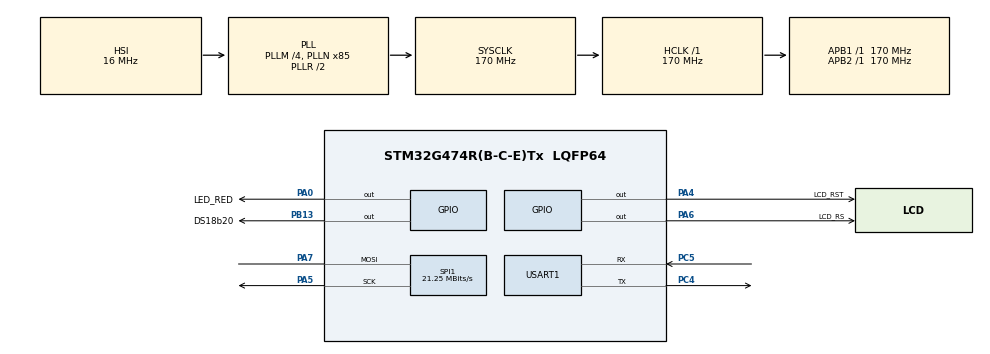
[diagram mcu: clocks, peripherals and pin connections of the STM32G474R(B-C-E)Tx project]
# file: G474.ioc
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Mcu.Family=STM32G4
Mcu.Name=STM32G474R(B-C-E)Tx
Mcu.Package=LQFP64
NVIC.PriorityGroup=NVIC_PRIORITYGROUP_4
PA0.GPIO_Label=LED_RED
PA0.GPIO_PuPd=GPIO_NOPULL
PA0.PinState=GPIO_PIN_RESET
PA0.Signal=GPIO_Output
PA13.Mode=Serial_Wire
PA13.Signal=SYS_JTMS-SWDIO
PA14.Mode=Serial_Wire
PA14.Signal=SYS_JTCK-SWCLK
PA4.GPIO_Label=LCD_RST
PA4.PinState=GPIO_PIN_SET
PA4.Signal=GPIO_Output
PA5.Mode=Simplex_Bidirectional_Master
PA5.Signal=SPI1_SCK
PA6.GPIO_Label=LCD_RS
PA6.GPIO_Speed=GPIO_SPEED_FREQ_VERY_HIGH
PA6.Signal=GPIO_Output
PA7.Mode=Simplex_Bidirectional_Master
PA7.Signal=SPI1_MOSI
PB13.GPIO_Label=DS18b20
PB13.GPIO_PuPd=GPIO_PULLUP
PB13.Signal=GPIO_Output
PC14-OSC32_IN.Mode=LSE-External-Oscillator
PC14-OSC32_IN.Signal=RCC_OSC32_IN
PC15-OSC32_OUT.Mode=LSE-External-Oscillator
PC15-OSC32_OUT.Signal=RCC_OSC32_OUT
PC4.Mode=Asynchronous
PC4.Signal=USART1_TX
PC5.Mode=Asynchronous
PC5.Signal=USART1_RX
PF0-OSC_IN.Mode=HSE-External-Oscillator
PF0-OSC_IN.Signal=RCC_OSC_IN
PF1-OSC_OUT.Mode=HSE-External-Oscillator
PF1-OSC_OUT.Signal=RCC_OSC_OUT
ProjectManager.HeapSize=0x200
ProjectManager.StackSize=0x400
ProjectManager.TargetToolchain=STM32CubeIDE
RCC.ADC12Freq_Value=170000000
RCC.ADC345Freq_Value=170000000
RCC.AHBFreq_Value=170000000
RCC.APB1Freq_Value=170000000
RCC.APB1TimFreq_Value=170000000
RCC.APB2Freq_Value=170000000
RCC.APB2TimFreq_Value=170000000
RCC.CortexFreq_Value=170000000
RCC.EXTERNAL_CLOCK_VALUE=12288000
RCC.HCLKFreq_Value=170000000
RCC.HSE_VALUE=8000000
RCC.HSI48_VALUE=48000000
RCC.HSI_VALUE=16000000
RCC.PLLM=RCC_PLLM_DIV4
RCC.PLLN=85
RCC.SYSCLKFreq_VALUE=170000000
RCC.SYSCLKSource=RCC_SYSCLKSOURCE_PLLCLK
RCC.USBFreq_Value=170000000
RCC.VCOOutputFreq_Value=340000000
SPI1.BaudRatePrescaler=SPI_BAUDRATEPRESCALER_8
SPI1.CLKPolarity=SPI_POLARITY_HIGH
SPI1.CalculateBaudRate=21.25 MBits/s
SPI1.DataSize=SPI_DATASIZE_8BIT
SPI1.Direction=SPI_DIRECTION_1LINE
SPI1.Mode=SPI_MODE_MASTER
SPI1.VirtualType=VM_MASTER
USART1.VirtualMode-Asynchronous=VM_ASYNC
VP_SYS_VS_DBSignals.Mode=DisableDeadBatterySignals
board=custom

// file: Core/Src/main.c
/* USER CODE BEGIN Header */
/**
  ******************************************************************************
  * @file           : main.c
  * @brief          : Main program body
  ******************************************************************************
  * @attention
  *
  * Copyright (c) 2025 STMicroelectronics.
  * All rights reserved.
  *
  * This software is licensed under terms that can be found in the LICENSE file
  * in the root directory of this software component.
  * If no LICENSE file comes with this software, it is provided AS-IS.
  *
  ******************************************************************************
  */
/* USER CODE END Header */
#include "main.h"
#include "spi.h"
#include "usart.h"
#include "gpio.h"

/* USER CODE BEGIN Includes */
#include<stdio.h>
#include<string.h>

#include "ds18b20.h"
#include "spi_tftlcd.h"
#include "GUI.h"

/* USER CODE END Includes */

/* USER CODE BEGIN PTD */
float temp=0;
/* USER CODE END PTD */

/* USER CODE BEGIN PD */
float Temp=0,mid;
float temp_sum[25]={0},temp1[25]={0};
int sum=0,i,j;
char  Tx_Buf[30] = {0};
/* USER CODE END PD */

void SystemClock_Config(void);

int main(void)
{

  /* MCU Configuration--------------------------------------------------------*/

  /* Reset of all peripherals, Initializes the Flash interface and the Systick. */
  HAL_Init();

  /* Configure the system clock */
  SystemClock_Config();

  /* Initialize all configured peripherals */
  MX_GPIO_Init();
  MX_USART1_UART_Init();
  MX_SPI1_Init();
  /* USER CODE BEGIN 2 */
  Lcd_Init();
  /* USER CODE END 2 */

  /* Infinite loop */
  /* USER CODE BEGIN WHILE */
  Lcd_Clear(WHITE);
  HAL_Delay(500);
  Temp = DS18B20_GetTemp_SkipRom();
  for(i=0;i<25;i++){
	  temp_sum[i]=Temp;
	  Temp = DS18B20_GetTemp_SkipRom();
  }
  while (1)
  {
	  //	led_red_toggle();
    /* USER CODE END WHILE */

    /* USER CODE BEGIN 3 */
	for(i=0;i<25;i++){
		temp1[i]=temp_sum[i];
	}
	for(i=0;i<25;i++){
		for(j=i+1;j<25;j++){
			if(temp1[i]>temp1[j]){
				mid=temp1[i];
				temp1[i]=temp1[j];
				temp1[j]=mid;
			}
		}
	}
	Temp=temp1[12];
	sprintf(Tx_Buf, "%.3f", Temp);
	i=0;
	Gui_DrawFont_GBK24(20,100,RED,GRAY0,"temperature:");
	Gui_DrawFont_GBK24(120,100,RED,GRAY0,Tx_Buf);
	while(i<12){
		Temp = DS18B20_GetTemp_SkipRom();
		temp_sum[sum]=Temp;
		sum=(sum+1)%25;
		i++;
	}
	HAL_Delay(100);

  }
  /* USER CODE END 3 */
}

void SystemClock_Config(void)
{
  RCC_OscInitTypeDef RCC_OscInitStruct = {0};
  RCC_ClkInitTypeDef RCC_ClkInitStruct = {0};

  /** Configure the main internal regulator output voltage
  */
  HAL_PWREx_ControlVoltageScaling(PWR_REGULATOR_VOLTAGE_SCALE1_BOOST);

  /** Initializes the RCC Oscillators according to the specified parameters
  * in the RCC_OscInitTypeDef structure.
  */
  RCC_OscInitStruct.OscillatorType = RCC_OSCILLATORTYPE_HSI;
  RCC_OscInitStruct.HSIState = RCC_HSI_ON;
  RCC_OscInitStruct.HSICalibrationValue = RCC_HSICALIBRATION_DEFAULT;
  RCC_OscInitStruct.PLL.PLLState = RCC_PLL_ON;
  RCC_OscInitStruct.PLL.PLLSource = RCC_PLLSOURCE_HSI;
  RCC_OscInitStruct.PLL.PLLM = RCC_PLLM_DIV4;
  RCC_OscInitStruct.PLL.PLLN = 85;
  RCC_OscInitStruct.PLL.PLLP = RCC_PLLP_DIV2;
  RCC_OscInitStruct.PLL.PLLQ = RCC_PLLQ_DIV2;
  RCC_OscInitStruct.PLL.PLLR = RCC_PLLR_DIV2;
  if (HAL_RCC_OscConfig(&RCC_OscInitStruct) != HAL_OK)
  {
    Error_Handler();
  }

  /** Initializes the CPU, AHB and APB buses clocks
  */
  RCC_ClkInitStruct.ClockType = RCC_CLOCKTYPE_HCLK|RCC_CLOCKTYPE_SYSCLK
                              |RCC_CLOCKTYPE_PCLK1|RCC_CLOCKTYPE_PCLK2;
  RCC_ClkInitStruct.SYSCLKSource = RCC_SYSCLKSOURCE_PLLCLK;
  RCC_ClkInitStruct.AHBCLKDivider = RCC_SYSCLK_DIV1;
  RCC_ClkInitStruct.APB1CLKDivider = RCC_HCLK_DIV1;
  RCC_ClkInitStruct.APB2CLKDivider = RCC_HCLK_DIV1;

  if (HAL_RCC_ClockConfig(&RCC_ClkInitStruct, FLASH_LATENCY_4) != HAL_OK)
  {
    Error_Handler();
  }
}

void Error_Handler(void)
{
  __disable_irq();
  while (1)
  {
  }
}
